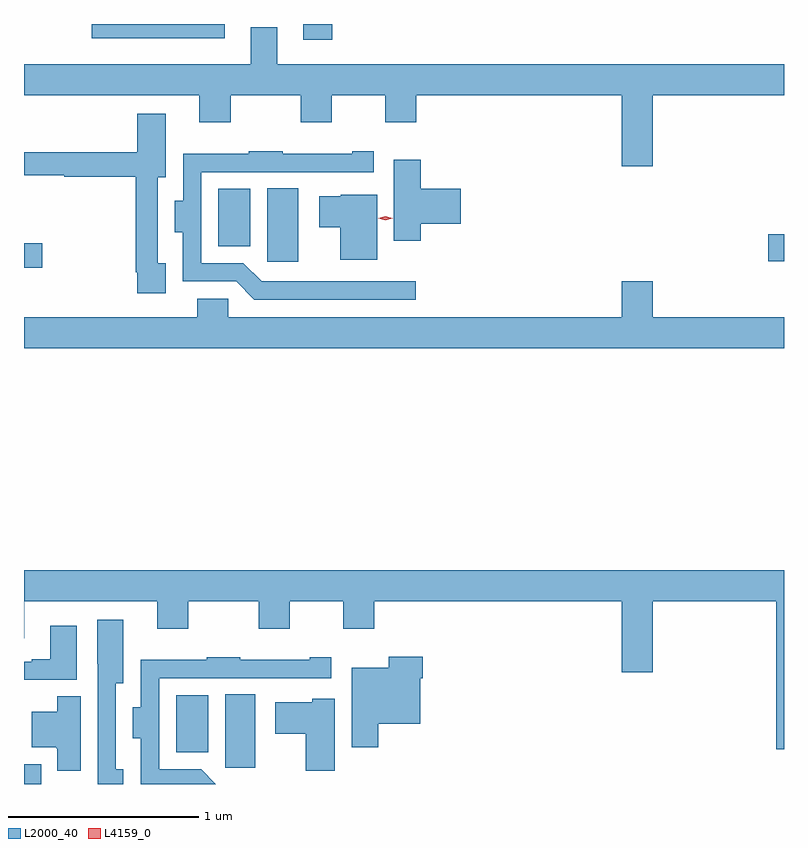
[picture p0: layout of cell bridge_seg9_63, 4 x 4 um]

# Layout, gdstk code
import gdstk
lib = gdstk.Library(unit=1e-6, precision=1e-09)
def R(c, l, rs):  # rectangles x0, y0, x1, y1
    for r in rs: c.add(gdstk.rectangle(r[:2], r[2:], *l))
def P(c, l, *ps):  # polygons
    for p in ps: c.add(gdstk.Polygon(p, *l))
L2000_40 = (2000, 40)
L4159_0 = (4159, 0)

bridge_seg9_63 = lib.new_cell('bridge_seg9_63')
R(bridge_seg9_63, L2000_40, [(1084.938,1176.811,1085.029,1176.916), (1085.996,1176.897,1086.154,1177.283), (1085.738,1176.977,1085.908,1177.279), (1084.938,1179.527,1085.035,1179.657), (1086.218,1179.561,1086.382,1179.947), (1088.856,1179.562,1088.938,1179.704), (1085.96,1179.641,1086.13,1179.943), (1086.407,1180.728,1086.56,1180.811), (1085.295,1180.736,1085.995,1180.811)])
P(bridge_seg9_63, L2000_40, [(1088.248,1180.436),(1088.938,1180.436),(1088.938,1180.6),(1086.271,1180.6),(1086.271,1180.795),(1086.131,1180.795),(1086.131,1180.6),(1084.938,1180.6),(1084.938,1180.436),(1085.861,1180.436),(1085.861,1180.293),(1086.025,1180.293),(1086.025,1180.436),(1086.395,1180.436),(1086.395,1180.293),(1086.559,1180.293),(1086.559,1180.436),(1086.839,1180.436),(1086.839,1180.293),(1087.003,1180.293),(1087.003,1180.436),(1088.084,1180.436),(1088.084,1180.062),(1088.248,1180.062)],
  [(1085.683,1179.553),(1085.643,1179.553),(1085.643,1180.004),(1085.683,1180.004),(1085.683,1180.339),(1085.534,1180.339),(1085.534,1180.135),(1084.938,1180.135),(1084.938,1180.014),(1085.15,1180.014),(1085.15,1180.006),(1085.527,1180.006),(1085.527,1179.505),(1085.535,1179.505),(1085.535,1179.393),(1085.683,1179.393)],
  [(1087,1179.456),(1086.189,1179.456),(1086.093,1179.552),(1085.871,1179.552),(1085.871,1180.032),(1086.778,1180.032),(1086.778,1180.141),(1086.665,1180.141),(1086.665,1180.129),(1086.299,1180.129),(1086.299,1180.141),(1086.121,1180.141),(1086.121,1180.129),(1085.775,1180.129),(1085.775,1179.88),(1085.732,1179.88),(1085.732,1179.716),(1085.774,1179.716),(1085.774,1179.456),(1086.054,1179.456),(1086.15,1179.36),(1087,1179.36)],
  [(1087.025,1179.761),(1087.237,1179.761),(1087.237,1179.944),(1087.025,1179.944),(1087.025,1180.096),(1086.884,1180.096),(1086.884,1179.669),(1087.025,1179.669)],
  [(1086.796,1179.913),(1086.606,1179.913),(1086.606,1179.904),(1086.491,1179.904),(1086.491,1179.74),(1086.602,1179.74),(1086.602,1179.569),(1086.796,1179.569)],
  [(1088.938,1179.268),(1088.248,1179.268),(1088.248,1179.457),(1088.084,1179.457),(1088.084,1179.268),(1086.012,1179.268),(1086.012,1179.366),(1085.849,1179.366),(1085.849,1179.268),(1084.938,1179.268),(1084.938,1179.104),(1088.938,1179.104)],
  [(1088.938,1177.936),(1084.938,1177.936),(1084.938,1177.578),(1084.939,1177.578),(1084.939,1177.772),(1085.639,1177.772),(1085.639,1177.629),(1085.803,1177.629),(1085.803,1177.772),(1086.173,1177.772),(1086.173,1177.629),(1086.337,1177.629),(1086.337,1177.772),(1086.617,1177.772),(1086.617,1177.629),(1086.781,1177.629),(1086.781,1177.772),(1088.084,1177.772),(1088.084,1177.398),(1088.248,1177.398),(1088.248,1177.772),(1088.897,1177.772),(1088.897,1176.993),(1088.938,1176.993)],
  [(1085.461,1176.889),(1085.421,1176.889),(1085.421,1177.34),(1085.461,1177.34),(1085.461,1177.675),(1085.324,1177.675),(1085.324,1177.444),(1085.325,1177.444),(1085.325,1176.811),(1085.461,1176.811)],
  [(1085.215,1177.645),(1085.075,1177.645),(1085.075,1177.468),(1084.979,1177.468),(1084.979,1177.455),(1084.938,1177.455),(1084.938,1177.359),(1085.215,1177.359)],
  [(1086.803,1177.127),(1087.024,1177.127),(1087.024,1177.367),(1087.037,1177.367),(1087.037,1177.48),(1086.859,1177.48),(1086.859,1177.423),(1086.662,1177.423),(1086.662,1177.005),(1086.803,1177.005)],
  [(1085.871,1176.888),(1085.649,1176.888),(1085.649,1177.368),(1086.556,1177.368),(1086.556,1177.477),(1086.443,1177.477),(1086.443,1177.465),(1086.077,1177.465),(1086.077,1177.477),(1085.899,1177.477),(1085.899,1177.465),(1085.553,1177.465),(1085.553,1177.216),(1085.51,1177.216),(1085.51,1177.052),(1085.552,1177.052),(1085.552,1176.811),(1085.948,1176.811)],
  [(1085.236,1177.274),(1085.114,1177.274),(1085.114,1177.192),(1084.979,1177.192),(1084.979,1177.004),(1085.108,1177.004),(1085.108,1176.998),(1085.114,1176.998),(1085.114,1176.882),(1085.236,1176.882)],
  [(1086.574,1177.261),(1086.456,1177.261),(1086.456,1177.24),(1086.261,1177.24),(1086.261,1177.076),(1086.422,1177.076),(1086.422,1176.881),(1086.574,1176.881)])
P(bridge_seg9_63, L4159_0, [(1086.84,1179.778),(1086.802,1179.788),(1086.801,1179.788),(1086.802,1179.788),(1086.84,1179.798),(1086.878,1179.788),(1086.879,1179.788),(1086.878,1179.788)])

lib.write_gds('bridge_seg9_63.gds')
